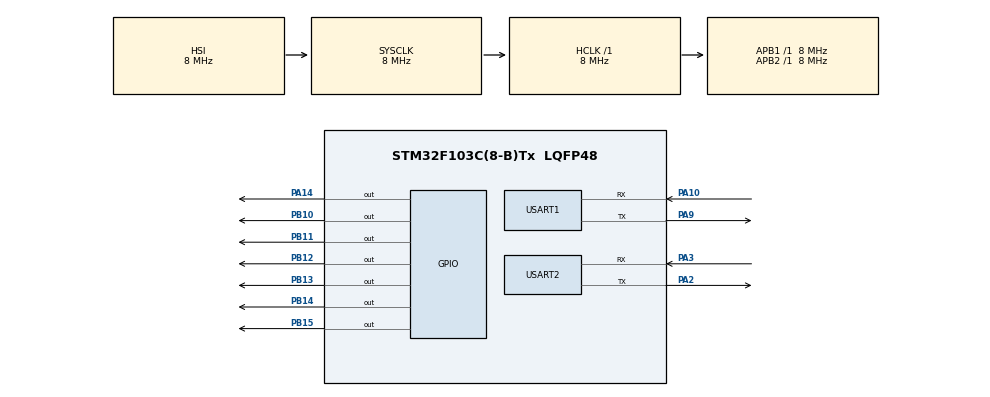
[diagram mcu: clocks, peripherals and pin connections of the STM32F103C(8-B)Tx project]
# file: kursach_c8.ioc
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Mcu.Family=STM32F1
Mcu.Name=STM32F103C(8-B)Tx
Mcu.Package=LQFP48
NVIC.PriorityGroup=NVIC_PRIORITYGROUP_4
NVIC.USART1_IRQn=true\:0\:0\:false\:false\:true\:true\:true\:true
NVIC.USART2_IRQn=true\:0\:0\:false\:false\:true\:true\:true\:true
PA10.Mode=Asynchronous
PA10.Signal=USART1_RX
PA14.Signal=GPIO_Output
PA2.Mode=Asynchronous
PA2.Signal=USART2_TX
PA3.Mode=Asynchronous
PA3.Signal=USART2_RX
PA9.Mode=Asynchronous
PA9.Signal=USART1_TX
PB10.Signal=GPIO_Output
PB11.Signal=GPIO_Output
PB12.Signal=GPIO_Output
PB13.Signal=GPIO_Output
PB14.Signal=GPIO_Output
PB15.Signal=GPIO_Output
ProjectManager.HeapSize=0x200
ProjectManager.StackSize=0x400
ProjectManager.TargetToolchain=STM32CubeIDE
RCC.AHBFreq_Value=8000000
RCC.APB1Freq_Value=8000000
RCC.APB1TimFreq_Value=8000000
RCC.APB2Freq_Value=8000000
RCC.APB2TimFreq_Value=8000000
RCC.HCLKFreq_Value=8000000
RCC.SYSCLKFreq_VALUE=8000000
RCC.USBFreq_Value=5333333.333333333
RCC.USBPrescaler=RCC_USBCLKSOURCE_PLL_DIV1_5
USART1.VirtualMode=VM_ASYNC
USART2.VirtualMode=VM_ASYNC
board=custom

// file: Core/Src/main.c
/* USER CODE BEGIN Header */
/**
  ******************************************************************************
  * @file           : main.c
  * @brief          : Main program body
  ******************************************************************************
  * @attention
  *
  * Copyright (c) 2023 STMicroelectronics.
  * All rights reserved.
  *
  * This software is licensed under terms that can be found in the LICENSE file
  * in the root directory of this software component.
  * If no LICENSE file comes with this software, it is provided AS-IS.
  *
  ******************************************************************************
  */
/* USER CODE END Header */
#include "main.h"

UART_HandleTypeDef huart1;
UART_HandleTypeDef huart2;

/* USER CODE BEGIN PV */
uint8_t UART1_rxBuffer[26] = {0};
int state = 0; // 0 - input, 1 - choose alg
/* USER CODE END PV */

void SystemClock_Config(void);
static void MX_GPIO_Init(void);
static void MX_USART2_UART_Init(void);
static void MX_USART1_UART_Init(void);

/* USER CODE BEGIN 0 */
int8_t* chosen_algorithm(int id) {
	switch (id) {
		case 0:
			return "sha256";
		case 1:
			return "md5";
		case 2:
			return "crc16";
		default:
			return "Invalid algorithm";
			break;
	}
}
/* USER CODE END 0 */

int main(void)
{

  /* MCU Configuration--------------------------------------------------------*/

  /* Reset of all peripherals, Initializes the Flash interface and the Systick. */
  HAL_Init();

  /* Configure the system clock */
  SystemClock_Config();

  /* Initialize all configured peripherals */
  MX_GPIO_Init();
  MX_USART2_UART_Init();
  MX_USART1_UART_Init();
  /* USER CODE BEGIN 2 */

//  HAL_UART_Transmit_IT(&huart1, "hi", 2);
  HAL_Delay(1000);
  int8_t *output, *data = NULL;
  int alg_id = 0, not_asked_for_input = 1;
  lcd_init();
  /* USER CODE END 2 */

  /* Infinite loop */
  while (1)
  {

    /* USER CODE BEGIN 3 */
	  /* scrolling through algorithms
	  			ids: 0 - sha, 1 - md, 2 - crc
	  	  */
	  if (state == 0) {
		  if (not_asked_for_input == 1) {
			  lcd_puts(0, 0, "Input data");
			  not_asked_for_input = 0;
			  data = (int8_t*)calloc(1000, sizeof(int8_t));
		  }

		  // Input place
		  switch (HAL_GPIO_ReadPin(GPIOA, GPIO_PIN_14)) {
		  	  case 0: // computer
		  		HAL_UART_Receive(&huart2, (int8_t*)data, 1000, 3000);
		  	  case 1: // phone
		  		HAL_UART_Receive_IT(&huart1, (int8_t*)data, 1000);
		  }

		  if (data && strlen(data) != 0) {
			  lcd_clear();
			  lcd_puts(0, 0, data);
			  HAL_Delay(1000);
			  lcd_clear();
			  state = 1;
		  }
	  } else if (state == 1) {
		  if (HAL_GPIO_ReadPin(GPIOA, GPIO_PIN_7) == 1) {
			  if (alg_id < 2) {
				  alg_id++;
			  } else {
				  alg_id = 0;
			  }
			  lcd_clear();
		  } else if (HAL_GPIO_ReadPin(GPIOA, GPIO_PIN_6) == 1) {
			  if (alg_id > 0) {
				  alg_id--;
			  } else {
				alg_id = 2;
			  }
			  lcd_clear();
		  } else if (HAL_GPIO_ReadPin(GPIOA, GPIO_PIN_5) == 1) {
			  lcd_clear();
			  output = chosen_algorithm(alg_id);
			  lcd_puts(0, 0, (int8_t*) output);
			  lcd_clear();
			  do_algorithm(data, alg_id);
			  not_asked_for_input = 1;
			  data = NULL;
		  }

		  if (state != 0) {
			  output = chosen_algorithm(alg_id);
			  lcd_puts(0, 0, (int8_t*) output);
			  HAL_Delay(200);
		  }
	  } else if (state != 2) {
		  lcd_clear();
		  lcd_init();
		  lcd_puts(0, 0, "Unexpected state");
	  }
  }
  /* USER CODE END 3 */
}

void SystemClock_Config(void)
{
  RCC_OscInitTypeDef RCC_OscInitStruct = {0};
  RCC_ClkInitTypeDef RCC_ClkInitStruct = {0};

  /** Initializes the RCC Oscillators according to the specified parameters
  * in the RCC_OscInitTypeDef structure.
  */
  RCC_OscInitStruct.OscillatorType = RCC_OSCILLATORTYPE_HSI;
  RCC_OscInitStruct.HSIState = RCC_HSI_ON;
  RCC_OscInitStruct.HSICalibrationValue = RCC_HSICALIBRATION_DEFAULT;
  RCC_OscInitStruct.PLL.PLLState = RCC_PLL_NONE;
  if (HAL_RCC_OscConfig(&RCC_OscInitStruct) != HAL_OK)
  {
    Error_Handler();
  }

  /** Initializes the CPU, AHB and APB buses clocks
  */
  RCC_ClkInitStruct.ClockType = RCC_CLOCKTYPE_HCLK|RCC_CLOCKTYPE_SYSCLK
                              |RCC_CLOCKTYPE_PCLK1|RCC_CLOCKTYPE_PCLK2;
  RCC_ClkInitStruct.SYSCLKSource = RCC_SYSCLKSOURCE_HSI;
  RCC_ClkInitStruct.AHBCLKDivider = RCC_SYSCLK_DIV1;
  RCC_ClkInitStruct.APB1CLKDivider = RCC_HCLK_DIV1;
  RCC_ClkInitStruct.APB2CLKDivider = RCC_HCLK_DIV1;

  if (HAL_RCC_ClockConfig(&RCC_ClkInitStruct, FLASH_LATENCY_0) != HAL_OK)
  {
    Error_Handler();
  }
}

static void MX_USART1_UART_Init(void)
{

  huart1.Instance = USART1;
  huart1.Init.BaudRate = 115200;
  huart1.Init.WordLength = UART_WORDLENGTH_8B;
  huart1.Init.StopBits = UART_STOPBITS_1;
  huart1.Init.Parity = UART_PARITY_NONE;
  huart1.Init.Mode = UART_MODE_TX_RX;
  huart1.Init.HwFlowCtl = UART_HWCONTROL_NONE;
  huart1.Init.OverSampling = UART_OVERSAMPLING_16;
  if (HAL_UART_Init(&huart1) != HAL_OK)
  {
    Error_Handler();
  }

}

static void MX_USART2_UART_Init(void)
{

  huart2.Instance = USART2;
  huart2.Init.BaudRate = 115200;
  huart2.Init.WordLength = UART_WORDLENGTH_8B;
  huart2.Init.StopBits = UART_STOPBITS_1;
  huart2.Init.Parity = UART_PARITY_NONE;
  huart2.Init.Mode = UART_MODE_TX_RX;
  huart2.Init.HwFlowCtl = UART_HWCONTROL_NONE;
  huart2.Init.OverSampling = UART_OVERSAMPLING_16;
  if (HAL_UART_Init(&huart2) != HAL_OK)
  {
    Error_Handler();
  }

}

static void MX_GPIO_Init(void)
{
  GPIO_InitTypeDef GPIO_InitStruct = {0};

  /* GPIO Ports Clock Enable */
  __HAL_RCC_GPIOA_CLK_ENABLE();
  __HAL_RCC_GPIOB_CLK_ENABLE();

  /*Configure GPIO pin Output Level */
  HAL_GPIO_WritePin(GPIOB, GPIO_PIN_10|GPIO_PIN_11|GPIO_PIN_12|GPIO_PIN_13
                          |GPIO_PIN_14|GPIO_PIN_15, GPIO_PIN_RESET);

  /*Configure GPIO pin Output Level */
  HAL_GPIO_WritePin(GPIOA, GPIO_PIN_14, GPIO_PIN_RESET);

  /*Configure GPIO pins : PB10 PB11 PB12 PB13
                           PB14 PB15 */
  GPIO_InitStruct.Pin = GPIO_PIN_10|GPIO_PIN_11|GPIO_PIN_12|GPIO_PIN_13
                          |GPIO_PIN_14|GPIO_PIN_15;
  GPIO_InitStruct.Mode = GPIO_MODE_OUTPUT_PP;
  GPIO_InitStruct.Pull = GPIO_NOPULL;
  GPIO_InitStruct.Speed = GPIO_SPEED_FREQ_LOW;
  HAL_GPIO_Init(GPIOB, &GPIO_InitStruct);

  /*Configure GPIO pin : PA14 */
  GPIO_InitStruct.Pin = GPIO_PIN_14;
  GPIO_InitStruct.Mode = GPIO_MODE_OUTPUT_PP;
  GPIO_InitStruct.Pull = GPIO_NOPULL;
  GPIO_InitStruct.Speed = GPIO_SPEED_FREQ_LOW;
  HAL_GPIO_Init(GPIOA, &GPIO_InitStruct);

}

void Error_Handler(void)
{
  __disable_irq();
  while (1)
  {
  }
}
